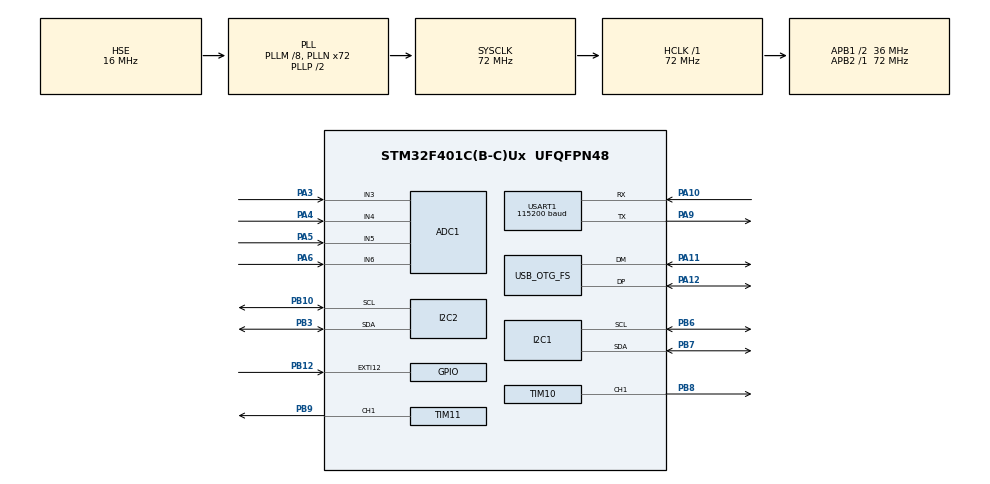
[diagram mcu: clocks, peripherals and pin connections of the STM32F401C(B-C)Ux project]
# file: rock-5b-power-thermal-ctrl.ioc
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ADC1.Channel-12\#ChannelRegularConversion=ADC_CHANNEL_3
ADC1.Channel-13\#ChannelRegularConversion=ADC_CHANNEL_4
ADC1.Channel-14\#ChannelRegularConversion=ADC_CHANNEL_5
ADC1.Channel-15\#ChannelRegularConversion=ADC_CHANNEL_6
ADC1.Channel-16\#ChannelRegularConversion=ADC_CHANNEL_TEMPSENSOR
ADC1.Channel-17\#ChannelRegularConversion=ADC_CHANNEL_VREFINT
ADC1.ContinuousConvMode=ENABLE
ADC1.DMAContinuousRequests=ENABLE
ADC1.EOCSelection=ADC_EOC_SEQ_CONV
ADC1.NbrOfConversion=6
ADC1.NbrOfConversionFlag=1
ADC1.Rank-12\#ChannelRegularConversion=1
ADC1.Rank-13\#ChannelRegularConversion=2
ADC1.Rank-14\#ChannelRegularConversion=3
ADC1.Rank-15\#ChannelRegularConversion=4
ADC1.Rank-16\#ChannelRegularConversion=5
ADC1.Rank-17\#ChannelRegularConversion=6
ADC1.SamplingTime-12\#ChannelRegularConversion=ADC_SAMPLETIME_480CYCLES
ADC1.SamplingTime-13\#ChannelRegularConversion=ADC_SAMPLETIME_480CYCLES
ADC1.SamplingTime-14\#ChannelRegularConversion=ADC_SAMPLETIME_480CYCLES
ADC1.SamplingTime-15\#ChannelRegularConversion=ADC_SAMPLETIME_480CYCLES
ADC1.SamplingTime-16\#ChannelRegularConversion=ADC_SAMPLETIME_480CYCLES
ADC1.SamplingTime-17\#ChannelRegularConversion=ADC_SAMPLETIME_480CYCLES
ADC1.ScanConvMode=ENABLE
ADC1.master=1
Dma.ADC1.0.Direction=DMA_PERIPH_TO_MEMORY
Dma.ADC1.0.FIFOMode=DMA_FIFOMODE_ENABLE
Dma.ADC1.0.FIFOThreshold=DMA_FIFO_THRESHOLD_FULL
Dma.ADC1.0.Instance=DMA2_Stream0
Dma.ADC1.0.MemBurst=DMA_MBURST_SINGLE
Dma.ADC1.0.MemDataAlignment=DMA_MDATAALIGN_HALFWORD
Dma.ADC1.0.MemInc=DMA_MINC_ENABLE
Dma.ADC1.0.Mode=DMA_CIRCULAR
Dma.ADC1.0.PeriphBurst=DMA_PBURST_SINGLE
Dma.ADC1.0.PeriphDataAlignment=DMA_PDATAALIGN_HALFWORD
Dma.ADC1.0.PeriphInc=DMA_PINC_DISABLE
Dma.ADC1.0.Priority=DMA_PRIORITY_LOW
Dma.Request0=ADC1
FREERTOS.INCLUDE_uxTaskGetStackHighWaterMark2=0
FREERTOS.Tasks01=defaultTask,24,512,StartDefaultTask,Default,NULL,Dynamic,NULL,NULL
FREERTOS.configENABLE_FPU=1
FREERTOS.configMAX_TASK_NAME_LEN=32
FREERTOS.configMINIMAL_STACK_SIZE=512
FREERTOS.configUSE_NEWLIB_REENTRANT=1
IWDG.Prescaler=IWDG_PRESCALER_8
Mcu.Family=STM32F4
Mcu.Name=STM32F401C(B-C)Ux
Mcu.Package=UFQFPN48
NVIC.DMA2_Stream0_IRQn=true\:5\:0\:false\:false\:true\:true\:false\:true\:true
NVIC.EXTI15_10_IRQn=true\:5\:0\:false\:false\:true\:true\:true\:true\:true
NVIC.OTG_FS_IRQn=true\:5\:0\:false\:false\:true\:true\:false\:true\:true
NVIC.PriorityGroup=NVIC_PRIORITYGROUP_4
NVIC.TIM1_UP_TIM10_IRQn=true\:15\:0\:false\:false\:true\:false\:false\:true\:true
NVIC.TimeBase=TIM1_UP_TIM10_IRQn
NVIC.TimeBaseIP=TIM1
PA10.Mode=Asynchronous
PA10.Signal=USART1_RX
PA11.Mode=Device_Only
PA11.Signal=USB_OTG_FS_DM
PA12.Mode=Device_Only
PA12.Signal=USB_OTG_FS_DP
PA13.Mode=Serial_Wire
PA13.Signal=SYS_JTMS-SWDIO
PA14.Mode=Serial_Wire
PA14.Signal=SYS_JTCK-SWCLK
PA3.Signal=ADCx_IN3
PA4.Signal=ADCx_IN4
PA5.Signal=ADCx_IN5
PA6.Signal=ADCx_IN6
PA9.Mode=Asynchronous
PA9.Signal=USART1_TX
PB10.GPIO_Pu=GPIO_PULLUP
PB10.Mode=I2C
PB10.Signal=I2C2_SCL
PB12.GPIO_ModeDefaultEXTI=GPIO_MODE_IT_FALLING
PB12.GPIO_PuPd=GPIO_PULLUP
PB12.Signal=GPXTI12
PB3.GPIO_Pu=GPIO_PULLUP
PB3.Mode=I2C
PB3.Signal=I2C2_SDA
PB6.GPIO_Pu=GPIO_PULLUP
PB6.Mode=I2C
PB6.Signal=I2C1_SCL
PB7.GPIO_Pu=GPIO_PULLUP
PB7.Mode=I2C
PB7.Signal=I2C1_SDA
PB8.Signal=S_TIM10_CH1
PB9.GPIO_Speed=GPIO_SPEED_FREQ_VERY_HIGH
PB9.Signal=S_TIM11_CH1
PH0\ -\ OSC_IN.Mode=HSE-External-Oscillator
PH0\ -\ OSC_IN.Signal=RCC_OSC_IN
PH1\ -\ OSC_OUT.Mode=HSE-External-Oscillator
PH1\ -\ OSC_OUT.Signal=RCC_OSC_OUT
ProjectManager.HeapSize=0x1800
ProjectManager.StackSize=0x4800
ProjectManager.TargetToolchain=STM32CubeIDE
RCC.48MHZClocksFreq_Value=48000000
RCC.AHBFreq_Value=72000000
RCC.APB1CLKDivider=RCC_HCLK_DIV2
RCC.APB1Freq_Value=36000000
RCC.APB1TimFreq_Value=72000000
RCC.APB2Freq_Value=72000000
RCC.APB2TimFreq_Value=72000000
RCC.CortexFreq_Value=72000000
RCC.HCLKFreq_Value=72000000
RCC.HSE_VALUE=16000000
RCC.HSI_VALUE=16000000
RCC.LSE_VALUE=32768
RCC.PLLM=8
RCC.PLLN=72
RCC.PLLQ=3
RCC.RCC_MCO1Source=RCC_MCO1SOURCE_PLLCLK
RCC.SYSCLKFreq_VALUE=72000000
RCC.SYSCLKSource=RCC_SYSCLKSOURCE_PLLCLK
RCC.VCOOutputFreq_Value=144000000
SH.ADCx_IN3.0=ADC1_IN3,IN3
SH.ADCx_IN4.0=ADC1_IN4,IN4
SH.ADCx_IN5.0=ADC1_IN5,IN5
SH.ADCx_IN6.0=ADC1_IN6,IN6
SH.S_TIM10_CH1.0=TIM10_CH1,PWM Generation1 CH1
SH.S_TIM11_CH1.0=TIM11_CH1,PWM Generation1 CH1
TIM10.AutoReloadPreload=TIM_AUTORELOAD_PRELOAD_ENABLE
TIM10.Channel=TIM_CHANNEL_1
TIM10.OCFastMode_PWM=TIM_OCFAST_ENABLE
TIM10.Period=720
TIM10.Prescaler=3
TIM10.Pulse=700
TIM11.AutoReloadPreload=TIM_AUTORELOAD_PRELOAD_ENABLE
TIM11.Channel=TIM_CHANNEL_1
TIM11.OCFastMode_PWM=TIM_OCFAST_ENABLE
TIM11.OCPolarity_1=TIM_OCPOLARITY_HIGH
TIM11.Period=720
TIM11.Prescaler=3
TIM11.Pulse=700
USART1.BaudRate=115200
USART1.VirtualMode=VM_ASYNC
USB_DEVICE.CLASS_NAME_FS=CDC
USB_DEVICE.VirtualMode=Cdc
USB_DEVICE.VirtualModeFS=Cdc_FS
USB_OTG_FS.VirtualMode=Device_Only
VP_ADC1_TempSens_Input.Mode=IN-TempSens
VP_ADC1_Vref_Input.Mode=IN-Vrefint
VP_FREERTOS_VS_CMSIS_V2.Mode=CMSIS_V2
VP_IWDG_VS_IWDG.Mode=IWDG_Activate
VP_SYS_VS_tim1.Mode=TIM1
VP_TIM10_VS_ClockSourceINT.Mode=Enable_Timer
VP_TIM11_VS_ClockSourceINT.Mode=Enable_Timer
VP_USB_DEVICE_VS_USB_DEVICE_CDC_FS.Mode=CDC_FS
board=custom

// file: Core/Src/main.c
/* USER CODE BEGIN Header */
/**
  ******************************************************************************
  * @file           : main.c
  * @brief          : Main program body
  ******************************************************************************
  * @attention
  *
  * Copyright (c) 2023 STMicroelectronics.
  * All rights reserved.
  *
  * This software is licensed under terms that can be found in the LICENSE file
  * in the root directory of this software component.
  * If no LICENSE file comes with this software, it is provided AS-IS.
  *
  ******************************************************************************
  */
/* USER CODE END Header */
#include "main.h"
#include "cmsis_os.h"
#include "adc.h"
#include "dma.h"
#include "i2c.h"
#include "iwdg.h"
#include "tim.h"
#include "usart.h"
#include "usb_device.h"
#include "gpio.h"

/* USER CODE BEGIN PV */
uint8_t *outputBuffer;
volatile uint32_t fanItCount = 0;

uint16_t *adcValueBuffer;
uint16_t *adcValueBuffer1;

HAL_StatusTypeDef selfHalOperationResult = {0};

kalman_state *kalmanStateVdda;
kalman_state *kalmanStateMcuTemperature;
kalman_state *kalmanStateAdcVal0;
kalman_state *kalmanStateAdcVal1;
kalman_state *kalmanStateAdcVal2;
kalman_state *kalmanStateAdcVal3;

kalman_state *kalmanStateSensorTemperatureSensor;

kalman_state *kalmanStateFanSpeedSensor;

/* USER CODE END PV */

void SystemClock_Config(void);

void MX_FREERTOS_Init(void);

int main(void) {

    /* MCU Configuration--------------------------------------------------------*/

    /* Reset of all peripherals, Initializes the Flash interface and the Systick. */
    HAL_Init();

    /* Configure the system clock */
    SystemClock_Config();

    /* Initialize all configured peripherals */
    MX_GPIO_Init();
    MX_DMA_Init();
    MX_ADC1_Init();
    MX_I2C1_Init();
    MX_IWDG_Init();
    MX_TIM11_Init();
    MX_USART1_UART_Init();
    MX_TIM10_Init();
    MX_I2C2_Init();
    /* USER CODE BEGIN 2 */

    outputBuffer = malloc(512);
    if (outputBuffer == NULL) {
        Error_Handler();
    }

    sprintf(outputBuffer, "{\"op\":\"sys_alert\",\"step\":\"sys_hardware_inited\"}\n");

    uint32_t sendLen = strlen(outputBuffer);
    HAL_UART_Transmit(&huart1, outputBuffer, sendLen, 0xff);

    HAL_TIM_PWM_Start(&htim11, TIM_CHANNEL_1);
    HAL_TIM_PWM_Start(&htim10, TIM_CHANNEL_1);

    HAL_IWDG_Refresh(&hiwdg);

    adcValueBuffer = malloc(sizeof(uint16_t) * ADC_CONVERSION_NUM);
    if (adcValueBuffer == NULL) {
        Error_Handler();
    }

    adcValueBuffer1 = malloc(sizeof(uint16_t) * ADC_CONVERSION_NUM);
    if (adcValueBuffer1 == NULL) {
        Error_Handler();
    }

    selfHalOperationResult = HAL_ADC_Start_DMA(&hadc1, (uint32_t *) adcValueBuffer, ADC_CONVERSION_NUM);
    if (selfHalOperationResult != HAL_OK) {
        Error_Handler();
    }

    HAL_IWDG_Refresh(&hiwdg);

    kalmanStateVdda = malloc(sizeof(kalman_state));
    if (kalmanStateVdda == NULL) {
        Error_Handler();
    }
    kalmanStateMcuTemperature = malloc(sizeof(kalman_state));
    if (kalmanStateMcuTemperature == NULL) {
        Error_Handler();
    }
    kalmanStateAdcVal0 = malloc(sizeof(kalman_state));
    if (kalmanStateAdcVal0 == NULL) {
        Error_Handler();
    }
    kalmanStateAdcVal1 = malloc(sizeof(kalman_state));
    if (kalmanStateAdcVal1 == NULL) {
        Error_Handler();
    }
    kalmanStateAdcVal2 = malloc(sizeof(kalman_state));
    if (kalmanStateAdcVal2 == NULL) {
        Error_Handler();
    }
    kalmanStateAdcVal3 = malloc(sizeof(kalman_state));
    if (kalmanStateAdcVal3 == NULL) {
        Error_Handler();
    }
    kalmanStateSensorTemperatureSensor = malloc(sizeof(kalman_state));
    if (kalmanStateSensorTemperatureSensor == NULL) {
        Error_Handler();
    }
    kalmanStateFanSpeedSensor = malloc(sizeof(kalman_state));
    if (kalmanStateFanSpeedSensor == NULL) {
        Error_Handler();
    }

    kalmanInitWithDefaultValue(kalmanStateVdda, 0.1f, 0.4f, 3300);
    kalmanInit(kalmanStateMcuTemperature, 0.1f, 0.4f);
    kalmanInit(kalmanStateAdcVal0, 0.1f, 0.4f);
    kalmanInit(kalmanStateAdcVal1, 0.1f, 0.4f);
    kalmanInit(kalmanStateAdcVal2, 0.1f, 0.4f);
    kalmanInit(kalmanStateAdcVal3, 0.1f, 0.4f);
    kalmanInit(kalmanStateFanSpeedSensor, 0.5f, 0.5f);

    HAL_IWDG_Refresh(&hiwdg);

    __HAL_TIM_SET_COMPARE(&htim11, TIM_CHANNEL_1, DUTY_MAX);

    sprintf(outputBuffer, "{\"op\":\"sys_alert\",\"step\":\"sys_software_inited\"}\n");

    sendLen = strlen(outputBuffer);
    HAL_UART_Transmit(&huart1, outputBuffer, sendLen, 0xff);

    /* USER CODE END 2 */

    /* Init scheduler */
    osKernelInitialize();  /* Call init function for freertos objects (in freertos.c) */
    MX_FREERTOS_Init();

    /* Start scheduler */
    osKernelStart();
    /* We should never get here as control is now taken by the scheduler */
    /* Infinite loop */
    while (1) {

    }
}

void SystemClock_Config(void) {
    RCC_OscInitTypeDef RCC_OscInitStruct = {0};
    RCC_ClkInitTypeDef RCC_ClkInitStruct = {0};

    /** Configure the main internal regulator output voltage
    */
    __HAL_RCC_PWR_CLK_ENABLE();
    __HAL_PWR_VOLTAGESCALING_CONFIG(PWR_REGULATOR_VOLTAGE_SCALE2);

    /** Initializes the RCC Oscillators according to the specified parameters
    * in the RCC_OscInitTypeDef structure.
    */
    RCC_OscInitStruct.OscillatorType = RCC_OSCILLATORTYPE_LSI | RCC_OSCILLATORTYPE_HSE;
    RCC_OscInitStruct.HSEState = RCC_HSE_ON;
    RCC_OscInitStruct.LSIState = RCC_LSI_ON;
    RCC_OscInitStruct.PLL.PLLState = RCC_PLL_ON;
    RCC_OscInitStruct.PLL.PLLSource = RCC_PLLSOURCE_HSE;
    RCC_OscInitStruct.PLL.PLLM = 8;
    RCC_OscInitStruct.PLL.PLLN = 72;
    RCC_OscInitStruct.PLL.PLLP = RCC_PLLP_DIV2;
    RCC_OscInitStruct.PLL.PLLQ = 3;
    if (HAL_RCC_OscConfig(&RCC_OscInitStruct) != HAL_OK) {
        Error_Handler();
    }

    /** Initializes the CPU, AHB and APB buses clocks
    */
    RCC_ClkInitStruct.ClockType = RCC_CLOCKTYPE_HCLK | RCC_CLOCKTYPE_SYSCLK
                                  | RCC_CLOCKTYPE_PCLK1 | RCC_CLOCKTYPE_PCLK2;
    RCC_ClkInitStruct.SYSCLKSource = RCC_SYSCLKSOURCE_PLLCLK;
    RCC_ClkInitStruct.AHBCLKDivider = RCC_SYSCLK_DIV1;
    RCC_ClkInitStruct.APB1CLKDivider = RCC_HCLK_DIV2;
    RCC_ClkInitStruct.APB2CLKDivider = RCC_HCLK_DIV1;

    if (HAL_RCC_ClockConfig(&RCC_ClkInitStruct, FLASH_LATENCY_2) != HAL_OK) {
        Error_Handler();
    }
}

void HAL_TIM_PeriodElapsedCallback(TIM_HandleTypeDef *htim) {
    if (htim->Instance == TIM1) {
        HAL_IncTick();
    }
}

void Error_Handler(void) {
    __disable_irq();
    while (1) {
    }
}

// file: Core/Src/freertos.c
/* USER CODE BEGIN Header */
/**
  ******************************************************************************
  * File Name          : freertos.c
  * Description        : Code for freertos applications
  ******************************************************************************
  * @attention
  *
  * Copyright (c) 2023 STMicroelectronics.
  * All rights reserved.
  *
  * This software is licensed under terms that can be found in the LICENSE file
  * in the root directory of this software component.
  * If no LICENSE file comes with this software, it is provided AS-IS.
  *
  ******************************************************************************
  */
/* USER CODE END Header */

#include "FreeRTOS.h"
#include "task.h"
#include "main.h"
#include "cmsis_os.h"

/* USER CODE BEGIN Includes */

#include <stdio.h>
#include <string.h>

#include "i2c.h"
#include "usbd_cdc_if.h"
#include "semphr.h"

/* USER CODE END Includes */

/* USER CODE BEGIN Variables */

extern IWDG_HandleTypeDef hiwdg;
extern UART_HandleTypeDef huart1;
extern ADC_HandleTypeDef hadc1;
extern DMA_HandleTypeDef hdma_adc1;
extern I2C_HandleTypeDef hi2c1;
extern TIM_HandleTypeDef htim11;
extern TIM_HandleTypeDef htim10;

extern uint8_t *outputBuffer;
extern uint32_t fanItCount;

extern uint16_t *adcValueBuffer1;

extern kalman_state *kalmanStateVdda;
extern kalman_state *kalmanStateMcuTemperature;
extern kalman_state *kalmanStateAdcVal0;
extern kalman_state *kalmanStateAdcVal1;
extern kalman_state *kalmanStateAdcVal2;
extern kalman_state *kalmanStateAdcVal3;

extern kalman_state *kalmanStateSensorTemperatureSensor;

extern kalman_state *kalmanStateFanSpeedSensor;

volatile uint32_t actualVdda = 0;
volatile int16_t mcuTemperature = 0;

volatile float sensorTemperature = 0;
volatile uint32_t currentDuty = DUTY_MAX;

volatile int32_t sensorReadErrorCount = 0;

volatile uint32_t adcVoltage[4] = {0};

volatile uint32_t fanSpeed = 0;

osThreadId_t updateFanSpeedValueTaskHandle;
const osThreadAttr_t updateFanSpeedValueTaskAttributes = {
        .name = "updateFanSpeedValueTaskHandle",
        .stack_size = 512 * 4,
        .priority = (osPriority_t) osPriorityNormal,
};

osThreadId_t updateAdcValueTaskHandle;
const osThreadAttr_t updateAdcValueTaskAttributes = {
        .name = "updateAdcValueTaskHandle",
        .stack_size = 512 * 4,
        .priority = (osPriority_t) osPriorityNormal,
};

osThreadId_t updateSensorTemperatureAndPWMValueTaskHandle;
const osThreadAttr_t updateSensorTemperatureAndPWMValueTaskAttributes = {
        .name = "updateSensorTemperatureAndPWMValueTaskHandle",
        .stack_size = 512 * 8,
        .priority = (osPriority_t) osPriorityNormal,
};

/* USER CODE END Variables */
/* Definitions for defaultTask */
osThreadId_t defaultTaskHandle;
const osThreadAttr_t defaultTask_attributes = {
        .name = "defaultTask",
        .stack_size = 512 * 4,
        .priority = (osPriority_t) osPriorityNormal,
};

/* USER CODE BEGIN FunctionPrototypes */
void startUpdateSensorTemperatureAndPWMValueTask(void *args);

void startUpdateAdcValueTask(void *args);

_Noreturn void startUpdateFanSpeedValueTask(void *args);

/* USER CODE END FunctionPrototypes */

void StartDefaultTask(void *argument);

extern void MX_USB_DEVICE_Init(void);

void MX_FREERTOS_Init(void); /* (MISRA C 2004 rule 8.1) */

void MX_FREERTOS_Init(void) {

    /* Create the thread(s) */
    /* creation of defaultTask */
    defaultTaskHandle = osThreadNew(StartDefaultTask, NULL, &defaultTask_attributes);

    /* USER CODE BEGIN RTOS_THREADS */
    /* add threads, ... */
    updateAdcValueTaskHandle = osThreadNew(startUpdateAdcValueTask, NULL, &updateAdcValueTaskAttributes);
    updateSensorTemperatureAndPWMValueTaskHandle = osThreadNew(startUpdateSensorTemperatureAndPWMValueTask, NULL,
                                                               &updateSensorTemperatureAndPWMValueTaskAttributes);
    updateFanSpeedValueTaskHandle = osThreadNew(startUpdateFanSpeedValueTask, NULL, &updateFanSpeedValueTaskAttributes);
    /* USER CODE END RTOS_THREADS */

}

void StartDefaultTask(void *argument) {
    /* init code for USB_DEVICE */
    MX_USB_DEVICE_Init();
    /* USER CODE BEGIN StartDefaultTask */

    uint32_t devId0 = HAL_GetUIDw0();
    uint32_t devId1 = HAL_GetUIDw1();
    uint32_t devId2 = HAL_GetUIDw2();

    uint8_t *deviceId = malloc(32);
    if (deviceId == NULL) {
        Error_Handler();
    }

    sprintf(deviceId, "%08lX%08lX%08lX", devId2, devId1, devId0);
    HAL_IWDG_Refresh(&hiwdg);

    uint8_t *outputFormatStr = malloc(256);
    if (deviceId == NULL) {
        Error_Handler();
    }

    for (int i = 0; i < 256; i++) {
        *(outputFormatStr + i) = 0;
    }

    char *prefix = "{\"op\":\"data_transfer\",\"ver\":\"v1.0\",\"data\":{\"dev_id\":\"";
    memcpy(outputFormatStr, prefix, strlen(prefix));

    strcat(outputFormatStr, deviceId);
    strcat(outputFormatStr, "\",\"sys_tick\":%lu,"
                            "\"vdda\":%lu,\"mcu_temp\":%hd,"
                            "\"adc_ch_1\":%lu,\"adc_ch_2\":%lu,"
                            "\"adc_ch_3\":%lu,\"adc_ch_4\":%lu,"
                            "\"sensor_temp\":%ld.%ld,\"duty_pwm\":%lu.%lu,"
                            "\"fan_speed\":%lu}}\n");

    int32_t sensorTemperatureIntPart = 0, sensorTemperatureMantissa = 0;

    uint32_t pwmDutyIntPart = 0, pwmDutyMantissa = 0;

    float duty = 0;

    free(outputFormatStr);

    uint32_t sendLen = 0;

    for (int i = 0; i < 50; i++) {
        osDelay(20);

        HAL_IWDG_Refresh(&hiwdg);
    }

    /* Infinite loop */
    for (;;) {
        HAL_IWDG_Refresh(&hiwdg);

        if (sensorTemperature < -274) {
            sensorTemperatureIntPart = -999;
            sensorTemperatureMantissa = 0;
        } else {
            sensorTemperatureIntPart = (int32_t) sensorTemperature;

            if (sensorTemperature < 0) {
                sensorTemperatureMantissa = (int32_t) (
                        ((sensorTemperature * -1) - ((float) sensorTemperatureIntPart * -1)) * 1000);
            } else {
                sensorTemperatureMantissa = (int32_t) (((sensorTemperature) - ((float) sensorTemperatureIntPart)) *
                                                       1000);
            }

        }

        duty = (float) currentDuty * 100 / PERIOD;

        pwmDutyIntPart = (uint32_t) duty;
        pwmDutyMantissa = (uint32_t) ((duty - (float) pwmDutyIntPart) * 1000);

        sprintf(outputBuffer, outputFormatStr,
                HAL_GetTick(),
                actualVdda,
                mcuTemperature,
                adcVoltage[0],
                adcVoltage[1],
                adcVoltage[2],
                adcVoltage[3],
                sensorTemperatureIntPart,
                sensorTemperatureMantissa,
                pwmDutyIntPart,
                pwmDutyMantissa,
                fanSpeed);
        sendLen = strlen(outputBuffer);
        HAL_UART_Transmit(&huart1, outputBuffer, sendLen, 0xff);
        CDC_Transmit_FS(outputBuffer, sendLen);

        for (int i = 0; i < 5; ++i) {
            HAL_IWDG_Refresh(&hiwdg);
            osDelay(100);
        }

    }
    /* USER CODE END StartDefaultTask */
}

/* USER CODE BEGIN Application */
_Noreturn void startUpdateAdcValueTask(void *args) {

    while (1) {

        kalmanUpdateUint32(kalmanStateVdda,
                           __LL_ADC_CALC_VREFANALOG_VOLTAGE((*(adcValueBuffer1 + 5)), LL_ADC_RESOLUTION_12B));
        actualVdda = (uint32_t) kalmanGetValue(kalmanStateVdda);

        kalmanUpdateInt32(kalmanStateMcuTemperature,
                          __LL_ADC_CALC_TEMPERATURE(actualVdda, *(adcValueBuffer1 + 4), LL_ADC_RESOLUTION_12B));
        mcuTemperature = (int16_t) kalmanGetValue(kalmanStateMcuTemperature);

        kalmanUpdateUint32(kalmanStateAdcVal0,
                           __LL_ADC_CALC_DATA_TO_VOLTAGE(actualVdda, *(adcValueBuffer1 + 0), LL_ADC_RESOLUTION_12B));
        adcVoltage[0] = (uint32_t) kalmanGetValue(kalmanStateAdcVal0);

        kalmanUpdateUint32(kalmanStateAdcVal1,
                           __LL_ADC_CALC_DATA_TO_VOLTAGE(actualVdda, *(adcValueBuffer1 + 1), LL_ADC_RESOLUTION_12B));
        adcVoltage[1] = (uint32_t) kalmanGetValue(kalmanStateAdcVal1);

        kalmanUpdateUint32(kalmanStateAdcVal2,
                           __LL_ADC_CALC_DATA_TO_VOLTAGE(actualVdda, *(adcValueBuffer1 + 2), LL_ADC_RESOLUTION_12B));
        adcVoltage[2] = (uint32_t) kalmanGetValue(kalmanStateAdcVal2);

        kalmanUpdateUint32(kalmanStateAdcVal3,
                           __LL_ADC_CALC_DATA_TO_VOLTAGE(actualVdda, *(adcValueBuffer1 + 3), LL_ADC_RESOLUTION_12B));
        adcVoltage[3] = (uint32_t) kalmanGetValue(kalmanStateAdcVal3);

        osDelay(5);
    }
}

_Noreturn void startUpdateSensorTemperatureAndPWMValueTask(void *args) {

    reset_m117(&hi2c1);
    clear_m117_status(&hi2c1);

    osDelay(10);

    for (uint16_t i = 0; i < 16; i++) {
        osDelay(10);
        read_m117_temperature(&hi2c1);
    }

    float init_temperature = read_m117_temperature(&hi2c1);
    if (init_temperature >= 0xffff) {
        init_temperature = 25;
    }
    kalmanInitWithDefaultValue(kalmanStateSensorTemperatureSensor, 0.01f, 0.01f, init_temperature);

    float tmpSensorTemperature = 0;

    while (1) {
        if (HAL_I2C_GetState(&hi2c1) == HAL_I2C_STATE_READY) {
            tmpSensorTemperature = read_m117_temperature(&hi2c1);
        } else {
            tmpSensorTemperature = 0xffff;
        }

        if (tmpSensorTemperature >= 0xffff) {
            if (HAL_I2C_GetState(&hi2c1) == HAL_I2C_STATE_READY) {
                HAL_I2C_DeInit(&hi2c1);
            }

            osDelay(50);

            if (HAL_I2C_GetState(&hi2c1) == HAL_I2C_STATE_RESET) {
                HAL_StatusTypeDef initState = HAL_I2C_Init(&hi2c1);
                if (initState == HAL_OK) {
                    osDelay(5);
                    reset_m117(&hi2c1);
                    clear_m117_status(&hi2c1);
                }
            }

            if (sensorReadErrorCount <= 10) {
                sensorReadErrorCount++;
            } else {
                currentDuty = DUTY_MAX;
                sensorTemperature = -999;
            }

        } else {
            kalmanUpdateFloat(kalmanStateSensorTemperatureSensor, tmpSensorTemperature);
            sensorTemperature = kalmanGetValue(kalmanStateSensorTemperatureSensor);
            currentDuty = fan_duty_calculate(sensorTemperature,
                                             __HAL_TIM_GET_COMPARE(&htim11, TIM_CHANNEL_1));
            sensorReadErrorCount = 0;
        }

        if (__HAL_TIM_GET_COMPARE(&htim11, TIM_CHANNEL_1) != currentDuty) {
            __HAL_TIM_SET_COMPARE(&htim11, TIM_CHANNEL_1, currentDuty);
        }

        if (__HAL_TIM_GET_COMPARE(&htim10, TIM_CHANNEL_1) != currentDuty) {
            __HAL_TIM_SET_COMPARE(&htim10, TIM_CHANNEL_1, currentDuty);
        }

        osDelay(5);

    }
}

_Noreturn void startUpdateFanSpeedValueTask(void *args) {
    uint32_t tmpFanItNum = 0;
    uint32_t lastUpdate = 0;
    uint32_t nowTick = 0;

    float tmpFanSpeed = 0;
    while (1) {

        for (int i = 0; i < 5; ++i) {
            HAL_IWDG_Refresh(&hiwdg);
            osDelay(100);
        }

        tmpFanItNum = fanItCount;
        fanItCount = 0;

        nowTick = HAL_GetTick();

        if (nowTick <= lastUpdate) {
            lastUpdate = HAL_GetTick();
            continue;
        } else {

            if (tmpFanItNum < 1) {
                fanSpeed = 0;
            } else {

                tmpFanSpeed = ((float) (tmpFanItNum * 60 * 500) / (float) (nowTick - lastUpdate));
                kalmanUpdateFloat(kalmanStateFanSpeedSensor, tmpFanSpeed);
                fanSpeed = (uint32_t) kalmanGetValue(kalmanStateFanSpeedSensor);
            }
            lastUpdate = nowTick;
        }

    }
}

/* USER CODE END Application */
